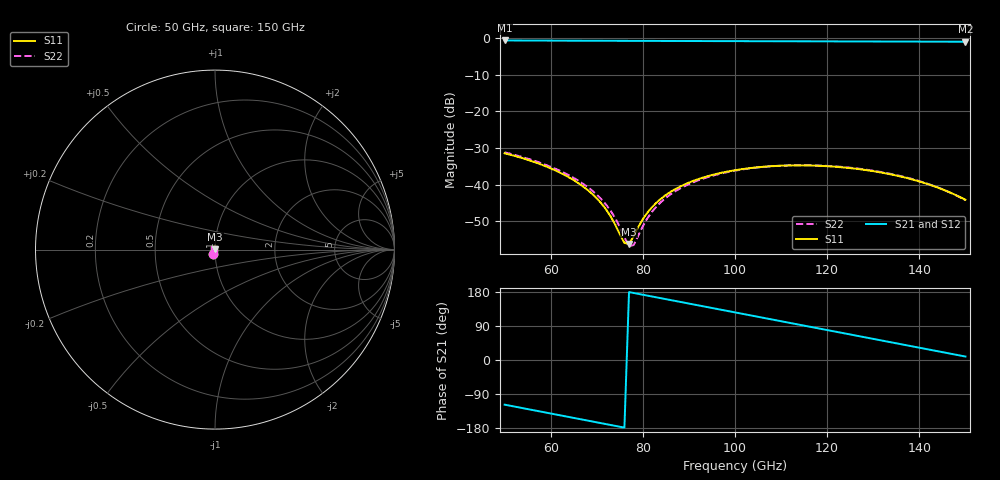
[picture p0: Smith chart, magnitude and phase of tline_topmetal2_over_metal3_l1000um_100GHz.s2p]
#  GHZ S DB R 50
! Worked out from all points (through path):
!   101 points, 50 GHz to 150 GHz, reference 50 ohm
!   highest |S21| = -0.60 dB at 50 GHz (marker M1); lowest = -0.9 dB at 150 GHz (marker M2)
!   group delay of S21, straight-line fit = 6.47 ps
!   lowest |S11| = -56.2 dB at 77 GHz (marker M3), VSWR 1.00, Z = 50 + j0.148 ohm
!   |S11| at or under -10 dB: start of sweep to end of sweep
!   |S22| runs from -56.8 to -31.2 dB; largest |S21 - S12| = 1.1e-14
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50  -31.41 -115.9  -0.60 -117.9  -0.60 -117.9  -31.17 -115.9
60  -35.54 -144.0  -0.64 -141.2  -0.64 -141.2  -35.11 -143.8
64  -38.02 -156.2  -0.66 -150.5  -0.66 -150.5  -37.46 -155.7
67  -40.45 -166.4  -0.67 -157.5  -0.67 -157.5  -39.73 -165.3
70  -43.73 -178.5  -0.68 -164.5  -0.68 -164.5  -42.73 -176.5
73  -48.63 163.0  -0.69 -171.5  -0.69 -171.5  -47.10 168.2
74  -50.90 152.5  -0.70 -173.8  -0.70 -173.8  -49.11 160.6
76  -55.92 108.8  -0.70 -178.5  -0.70 -178.5  -54.36 131.9
77  -56.18 72.3  -0.71 179.2  -0.71 179.2  -56.79 101.2
78  -54.08 43.4  -0.71 176.9  -0.71 176.9  -56.48 62.3
80  -49.41 14.9  -0.72 172.2  -0.72 172.2  -51.32 19.2
81  -47.61 7.1  -0.72 169.9  -0.72 169.9  -49.15 9.2
84  -43.76 -8.7  -0.73 162.9  -0.73 162.9  -44.65 -8.5
87  -41.23 -20.1  -0.74 155.9  -0.74 155.9  -41.81 -20.4
91  -38.93 -33.1  -0.76 146.6  -0.76 146.6  -39.30 -33.5
100  -36.04 -59.6  -0.79 125.6  -0.79 125.6  -36.17 -60.0
109  -34.87 -85.1  -0.81 104.7  -0.81 104.7  -34.88 -85.3
117  -34.79 -107.8  -0.84 86.0  -0.84 86.0  -34.72 -107.8
125  -35.47 -131.0  -0.86 67.4  -0.86 67.4  -35.36 -130.8
134  -37.23 -158.6  -0.89 46.4  -0.89 46.4  -37.10 -158.0
143  -40.33 170.1  -0.92 25.5  -0.92 25.5  -40.27 170.9
150  -44.11 138.0  -0.94 9.2  -0.94 9.2  -44.24 138.3
